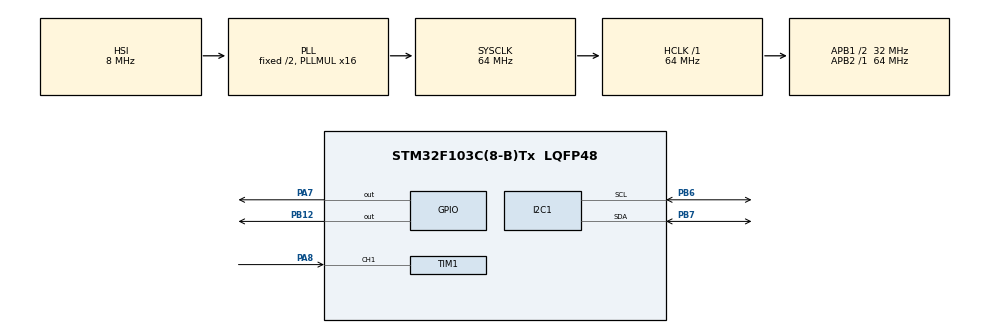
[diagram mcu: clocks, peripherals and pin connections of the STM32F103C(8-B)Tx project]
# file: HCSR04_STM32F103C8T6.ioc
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Mcu.Family=STM32F1
Mcu.Name=STM32F103C(8-B)Tx
Mcu.Package=LQFP48
NVIC.PriorityGroup=NVIC_PRIORITYGROUP_4
NVIC.TIM1_CC_IRQn=true\:0\:0\:false\:false\:true\:true\:true\:true
PA7.Signal=GPIO_Output
PA8.Signal=S_TIM1_CH1
PB12.Signal=GPIO_Output
PB6.Mode=I2C
PB6.Signal=I2C1_SCL
PB7.Mode=I2C
PB7.Signal=I2C1_SDA
ProjectManager.HeapSize=0x200
ProjectManager.StackSize=0x400
ProjectManager.TargetToolchain=MDK-ARM V5.32
RCC.AHBFreq_Value=64000000
RCC.APB1CLKDivider=RCC_HCLK_DIV2
RCC.APB1Freq_Value=32000000
RCC.APB1TimFreq_Value=64000000
RCC.APB2Freq_Value=64000000
RCC.APB2TimFreq_Value=64000000
RCC.HCLKFreq_Value=64000000
RCC.PLLMUL=RCC_PLL_MUL16
RCC.SYSCLKFreq_VALUE=64000000
RCC.SYSCLKSource=RCC_SYSCLKSOURCE_PLLCLK
RCC.USBFreq_Value=64000000
SH.S_TIM1_CH1.0=TIM1_CH1,Input_Capture1_from_TI1
TIM1.Channel-Input_Capture1_from_TI1=TIM_CHANNEL_1
TIM1.Period=0xffff -1
TIM1.Prescaler=64-1
VP_SYS_VS_ND.Mode=No_Debug
board=custom

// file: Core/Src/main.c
/* USER CODE BEGIN Header */
/**
  ******************************************************************************
  * @file           : main.c
  * @brief          : Main program body
  ******************************************************************************
  * @attention
  *
  * Copyright (c) 2023 STMicroelectronics.
  * All rights reserved.
  *
  * This software is licensed under terms that can be found in the LICENSE file
  * in the root directory of this software component.
  * If no LICENSE file comes with this software, it is provided AS-IS.
  *
  ******************************************************************************
  */
/* USER CODE END Header */
#include "main.h"

/* USER CODE BEGIN Includes */
#include "lcd16x2_i2c.h"
/* USER CODE END Includes */

I2C_HandleTypeDef hi2c1;

TIM_HandleTypeDef htim1;

void SystemClock_Config(void);
static void MX_GPIO_Init(void);
static void MX_TIM1_Init(void);
static void MX_I2C1_Init(void);

/* USER CODE BEGIN 0 */

uint8_t captured = 0;
uint32_t IC_val1 = 0;
uint32_t IC_val2 = 0;
uint32_t diff = 0;
uint32_t dist = 0;

void HAL_TIM_IC_CaptureCallback(TIM_HandleTypeDef *htim)
{
	if(htim->Channel == HAL_TIM_ACTIVE_CHANNEL_1){
		if(captured == 0){
			IC_val1 = HAL_TIM_ReadCapturedValue(htim, TIM_CHANNEL_1);
			captured = 1;
			__HAL_TIM_SET_CAPTUREPOLARITY(htim, TIM_CHANNEL_1, TIM_INPUTCHANNELPOLARITY_FALLING);
		}
		else if(captured == 1){
			IC_val2 = HAL_TIM_ReadCapturedValue(htim, TIM_CHANNEL_1);
			__HAL_TIM_SET_COUNTER(htim,0);

			if(IC_val2 > IC_val1){
				diff = IC_val2-IC_val1;
			}
			else if(IC_val1 > IC_val2){
				diff = (0xffff - IC_val1) + IC_val2;
			}
			dist = diff*.034/2;
			captured = 0;

			__HAL_TIM_SET_CAPTUREPOLARITY(htim, TIM_CHANNEL_1, TIM_INPUTCHANNELPOLARITY_RISING);
			__HAL_TIM_DISABLE_IT(&htim1, TIM_IT_CC1);

		}
	}
}

void HCSR04_read(void){
	HAL_GPIO_WritePin(GPIOA, GPIO_PIN_7, GPIO_PIN_SET);
	HAL_Delay(10);
	HAL_GPIO_WritePin(GPIOA, GPIO_PIN_7, GPIO_PIN_RESET);

	__HAL_TIM_ENABLE_IT(&htim1, TIM_IT_CC1);
}
/* USER CODE END 0 */

int main(void)
{

  /* MCU Configuration--------------------------------------------------------*/

  /* Reset of all peripherals, Initializes the Flash interface and the Systick. */
  HAL_Init();

  /* Configure the system clock */
  SystemClock_Config();

  /* Initialize all configured peripherals */
  MX_GPIO_Init();
  MX_TIM1_Init();
  MX_I2C1_Init();
  /* USER CODE BEGIN 2 */

	HAL_TIM_IC_Start_IT(&htim1, TIM_CHANNEL_1);
	if(lcd16x2_i2c_init(&hi2c1)){
		lcd16x2_i2c_clear();
		lcd16x2_i2c_printf("oke");
	}
  /* USER CODE END 2 */

  /* Infinite loop */
  /* USER CODE BEGIN WHILE */
  while (1)
  {
		HCSR04_read();
		lcd16x2_i2c_clear();
		lcd16x2_i2c_printf("%d", dist);
		HAL_Delay(200);
    /* USER CODE END WHILE */

  }
}

void SystemClock_Config(void)
{
  RCC_OscInitTypeDef RCC_OscInitStruct = {0};
  RCC_ClkInitTypeDef RCC_ClkInitStruct = {0};

  /** Initializes the RCC Oscillators according to the specified parameters
  * in the RCC_OscInitTypeDef structure.
  */
  RCC_OscInitStruct.OscillatorType = RCC_OSCILLATORTYPE_HSI;
  RCC_OscInitStruct.HSIState = RCC_HSI_ON;
  RCC_OscInitStruct.HSICalibrationValue = RCC_HSICALIBRATION_DEFAULT;
  RCC_OscInitStruct.PLL.PLLState = RCC_PLL_ON;
  RCC_OscInitStruct.PLL.PLLSource = RCC_PLLSOURCE_HSI_DIV2;
  RCC_OscInitStruct.PLL.PLLMUL = RCC_PLL_MUL16;
  if (HAL_RCC_OscConfig(&RCC_OscInitStruct) != HAL_OK)
  {
    Error_Handler();
  }

  /** Initializes the CPU, AHB and APB buses clocks
  */
  RCC_ClkInitStruct.ClockType = RCC_CLOCKTYPE_HCLK|RCC_CLOCKTYPE_SYSCLK
                              |RCC_CLOCKTYPE_PCLK1|RCC_CLOCKTYPE_PCLK2;
  RCC_ClkInitStruct.SYSCLKSource = RCC_SYSCLKSOURCE_PLLCLK;
  RCC_ClkInitStruct.AHBCLKDivider = RCC_SYSCLK_DIV1;
  RCC_ClkInitStruct.APB1CLKDivider = RCC_HCLK_DIV2;
  RCC_ClkInitStruct.APB2CLKDivider = RCC_HCLK_DIV1;

  if (HAL_RCC_ClockConfig(&RCC_ClkInitStruct, FLASH_LATENCY_2) != HAL_OK)
  {
    Error_Handler();
  }
}

static void MX_I2C1_Init(void)
{

  hi2c1.Instance = I2C1;
  hi2c1.Init.ClockSpeed = 100000;
  hi2c1.Init.DutyCycle = I2C_DUTYCYCLE_2;
  hi2c1.Init.OwnAddress1 = 0;
  hi2c1.Init.AddressingMode = I2C_ADDRESSINGMODE_7BIT;
  hi2c1.Init.DualAddressMode = I2C_DUALADDRESS_DISABLE;
  hi2c1.Init.OwnAddress2 = 0;
  hi2c1.Init.GeneralCallMode = I2C_GENERALCALL_DISABLE;
  hi2c1.Init.NoStretchMode = I2C_NOSTRETCH_DISABLE;
  if (HAL_I2C_Init(&hi2c1) != HAL_OK)
  {
    Error_Handler();
  }

}

static void MX_TIM1_Init(void)
{

  TIM_MasterConfigTypeDef sMasterConfig = {0};
  TIM_IC_InitTypeDef sConfigIC = {0};

  htim1.Instance = TIM1;
  htim1.Init.Prescaler = 64-1;
  htim1.Init.CounterMode = TIM_COUNTERMODE_UP;
  htim1.Init.Period = 0xffff -1;
  htim1.Init.ClockDivision = TIM_CLOCKDIVISION_DIV1;
  htim1.Init.RepetitionCounter = 0;
  htim1.Init.AutoReloadPreload = TIM_AUTORELOAD_PRELOAD_DISABLE;
  if (HAL_TIM_IC_Init(&htim1) != HAL_OK)
  {
    Error_Handler();
  }
  sMasterConfig.MasterOutputTrigger = TIM_TRGO_RESET;
  sMasterConfig.MasterSlaveMode = TIM_MASTERSLAVEMODE_DISABLE;
  if (HAL_TIMEx_MasterConfigSynchronization(&htim1, &sMasterConfig) != HAL_OK)
  {
    Error_Handler();
  }
  sConfigIC.ICPolarity = TIM_INPUTCHANNELPOLARITY_RISING;
  sConfigIC.ICSelection = TIM_ICSELECTION_DIRECTTI;
  sConfigIC.ICPrescaler = TIM_ICPSC_DIV1;
  sConfigIC.ICFilter = 0;
  if (HAL_TIM_IC_ConfigChannel(&htim1, &sConfigIC, TIM_CHANNEL_1) != HAL_OK)
  {
    Error_Handler();
  }

}

static void MX_GPIO_Init(void)
{
  GPIO_InitTypeDef GPIO_InitStruct = {0};

  /* GPIO Ports Clock Enable */
  __HAL_RCC_GPIOA_CLK_ENABLE();
  __HAL_RCC_GPIOB_CLK_ENABLE();

  /*Configure GPIO pin Output Level */
  HAL_GPIO_WritePin(GPIOA, GPIO_PIN_7, GPIO_PIN_RESET);

  /*Configure GPIO pin Output Level */
  HAL_GPIO_WritePin(GPIOB, GPIO_PIN_12, GPIO_PIN_RESET);

  /*Configure GPIO pin : PA7 */
  GPIO_InitStruct.Pin = GPIO_PIN_7;
  GPIO_InitStruct.Mode = GPIO_MODE_OUTPUT_PP;
  GPIO_InitStruct.Pull = GPIO_NOPULL;
  GPIO_InitStruct.Speed = GPIO_SPEED_FREQ_LOW;
  HAL_GPIO_Init(GPIOA, &GPIO_InitStruct);

  /*Configure GPIO pin : PB12 */
  GPIO_InitStruct.Pin = GPIO_PIN_12;
  GPIO_InitStruct.Mode = GPIO_MODE_OUTPUT_PP;
  GPIO_InitStruct.Pull = GPIO_NOPULL;
  GPIO_InitStruct.Speed = GPIO_SPEED_FREQ_LOW;
  HAL_GPIO_Init(GPIOB, &GPIO_InitStruct);

}

void Error_Handler(void)
{
  __disable_irq();
  while (1)
  {
  }
}
